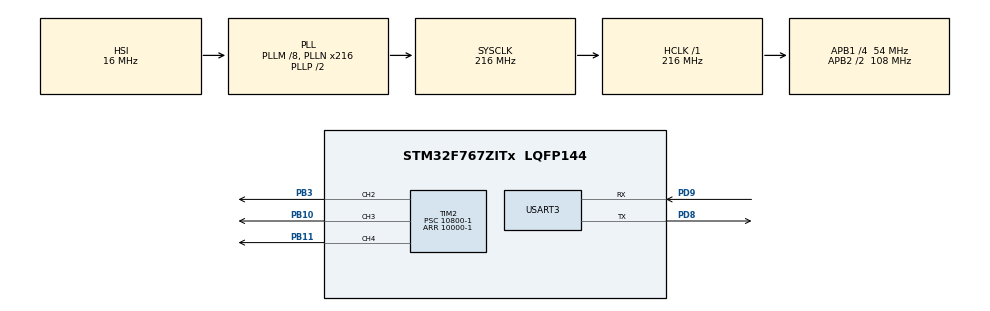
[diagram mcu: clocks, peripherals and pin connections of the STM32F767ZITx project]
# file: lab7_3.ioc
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CORTEX_M7.default_mode_Activation=1
Mcu.Family=STM32F7
Mcu.Name=STM32F767ZITx
Mcu.Package=LQFP144
NVIC.PriorityGroup=NVIC_PRIORITYGROUP_4
PB10.GPIO_Speed=GPIO_SPEED_FREQ_VERY_HIGH
PB10.Signal=S_TIM2_CH3
PB11.GPIO_Speed=GPIO_SPEED_FREQ_VERY_HIGH
PB11.Signal=S_TIM2_CH4
PB3.GPIO_Speed=GPIO_SPEED_FREQ_VERY_HIGH
PB3.Signal=S_TIM2_CH2
PD8.Mode=Asynchronous
PD8.Signal=USART3_TX
PD9.Mode=Asynchronous
PD9.Signal=USART3_RX
ProjectManager.HeapSize=0x200
ProjectManager.StackSize=0x400
ProjectManager.TargetToolchain=STM32CubeIDE
RCC.AHBFreq_Value=216000000
RCC.APB1CLKDivider=RCC_HCLK_DIV4
RCC.APB1Freq_Value=54000000
RCC.APB1TimFreq_Value=108000000
RCC.APB2CLKDivider=RCC_HCLK_DIV2
RCC.APB2Freq_Value=108000000
RCC.APB2TimFreq_Value=216000000
RCC.CortexFreq_Value=216000000
RCC.HCLKFreq_Value=216000000
RCC.HSE_VALUE=25000000
RCC.HSI_VALUE=16000000
RCC.LSE_VALUE=32768
RCC.PLLM=8
RCC.PLLN=216
RCC.SYSCLKFreq_VALUE=216000000
RCC.SYSCLKSource=RCC_SYSCLKSOURCE_PLLCLK
RCC.USBFreq_Value=216000000
RCC.VCOOutputFreq_Value=432000000
SH.S_TIM2_CH2.0=TIM2_CH2,PWM Generation2 CH2
SH.S_TIM2_CH3.0=TIM2_CH3,PWM Generation3 CH3
SH.S_TIM2_CH4.0=TIM2_CH4,PWM Generation4 CH4
TIM2.Channel-PWM\ Generation2\ CH2=TIM_CHANNEL_2
TIM2.Channel-PWM\ Generation3\ CH3=TIM_CHANNEL_3
TIM2.Channel-PWM\ Generation4\ CH4=TIM_CHANNEL_4
TIM2.Period=10000-1
TIM2.Prescaler=10800-1
TIM2.Pulse-PWM\ Generation2\ CH2=10000/4-1
TIM2.Pulse-PWM\ Generation3\ CH3=10000/4-1
TIM2.Pulse-PWM\ Generation4\ CH4=10000/4-1
USART3.VirtualMode-Asynchronous=VM_ASYNC
VP_TIM2_VS_ClockSourceINT.Mode=Internal
board=custom

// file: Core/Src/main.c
/* USER CODE BEGIN Header */
/**
  ******************************************************************************
  * @file           : main.c
  * @brief          : Main program body
  ******************************************************************************
  * @attention
  *
  * Copyright (c) 2024 STMicroelectronics.
  * All rights reserved.
  *
  * This software is licensed under terms that can be found in the LICENSE file
  * in the root directory of this software component.
  * If no LICENSE file comes with this software, it is provided AS-IS.
  *
  ******************************************************************************
  */
/* USER CODE END Header */
#include "main.h"
#include "tim.h"
#include "usart.h"
#include "gpio.h"
#include "string.h"

/* USER CODE BEGIN PD */
// Define PWM variables
extern TIM_HandleTypeDef htim2;  // Use timer for PWM generation
uint8_t red_brightness = 0;    // Red brightness level (0-5 corresponding to 0%-100%)
uint8_t green_brightness = 0;  // Green brightness level (0-5 corresponding to 0%-100%)
uint8_t blue_brightness = 0;   // Blue brightness level (0-5 corresponding to 0%-100%)
float brightness_levels[] = {0.0, 0.2, 0.4, 0.6, 0.8, 1.0};  // Brightness steps
// Declare duty cycle variables to monitor in STM32CubeMonitor
float red_duty_cycle = 0.0;   // Red duty cycle (0.0 to 1.0)
float green_duty_cycle = 0.0; // Green duty cycle (0.0 to 1.0)
float blue_duty_cycle = 0.0;  // Blue duty cycle (0.0 to 1.0)
/* USER CODE END PD */

void SystemClock_Config(void);
static void MPU_Config(void);

/* USER CODE BEGIN 0 */
// Function prototypes
void Set_RGB_Brightness(void);
void Handle_Key_Input(char key);
/* USER CODE END 0 */

int main(void)
{

  /* MPU Configuration--------------------------------------------------------*/
  MPU_Config();

  /* MCU Configuration--------------------------------------------------------*/

  /* Reset of all peripherals, Initializes the Flash interface and the Systick. */
  HAL_Init();

  /* Configure the system clock */
  SystemClock_Config();

  /* Initialize all configured peripherals */
  MX_GPIO_Init();
  MX_TIM2_Init();
  MX_USART3_UART_Init();
  /* USER CODE BEGIN 2 */
  // Start PWM channels for red, green, blue
  HAL_TIM_PWM_Start(&htim2, TIM_CHANNEL_2);  // Red on TIM2_CH2
  HAL_TIM_PWM_Start(&htim2, TIM_CHANNEL_3);  // Green on TIM2_CH3
  HAL_TIM_PWM_Start(&htim2, TIM_CHANNEL_4);  // Blue on TIM2_CH4
  char received_char;
  char message[] = "Enter key: ";
  /* USER CODE END 2 */

  /* Infinite loop */
  while (1)
  {
	  HAL_UART_Transmit(&huart3, (uint8_t*)message, strlen(message), HAL_MAX_DELAY);
	  if (HAL_UART_Receive(&huart3, (uint8_t *)&received_char, 1, HAL_MAX_DELAY) == HAL_OK) {
		  HAL_UART_Transmit(&huart3, &received_char, 1, HAL_MAX_DELAY);
		  HAL_UART_Transmit(&huart3, (uint8_t*)"\r\n", 2, HAL_MAX_DELAY);
		  Handle_Key_Input(received_char);  // Handle 'r', 'g', 'b' keypress
	      Set_RGB_Brightness();  // Update brightness based on the latest values
  }
}
}

  // Function to set the brightness of the RGB LED using PWM duty cycles
  void Set_RGB_Brightness(void) {
	  // Update the duty cycle of each color and store it in global variables
	  red_duty_cycle = brightness_levels[red_brightness];    // Red duty cycle
	  green_duty_cycle = brightness_levels[green_brightness]; // Green duty cycle
	  blue_duty_cycle = brightness_levels[blue_brightness];   // Blue duty cycle
	  // Update the duty cycle of each color based on brightness levels (0-100%)
      htim2.Instance->CCR2 = (10000 - 1) * brightness_levels[red_brightness];   // Red brightness (TIM2_CH2)
      htim2.Instance->CCR3 = (10000 - 1) * brightness_levels[green_brightness]; // Green brightness (TIM2_CH3)
      htim2.Instance->CCR4 = (10000 - 1) * brightness_levels[blue_brightness];  // Blue brightness (TIM2_CH4)
  }

  // Function to handle key input and cycle through brightness levels
  void Handle_Key_Input(char key) {
      switch (key) {
          case 'r':  // Increase red brightness
              red_brightness = (red_brightness + 1) % 6;  // Cycle from 0% to 100% and back to 0%
              break;
          case 'g':  // Increase green brightness
              green_brightness = (green_brightness + 1) % 6;
              break;
          case 'b':  // Increase blue brightness
              blue_brightness = (blue_brightness + 1) % 6;
              break;
          default:
              // Ignore other keys
              break;
      }
  }

void SystemClock_Config(void)
{
  RCC_OscInitTypeDef RCC_OscInitStruct = {0};
  RCC_ClkInitTypeDef RCC_ClkInitStruct = {0};

  /** Configure the main internal regulator output voltage
  */
  __HAL_RCC_PWR_CLK_ENABLE();
  __HAL_PWR_VOLTAGESCALING_CONFIG(PWR_REGULATOR_VOLTAGE_SCALE1);

  /** Initializes the RCC Oscillators according to the specified parameters
  * in the RCC_OscInitTypeDef structure.
  */
  RCC_OscInitStruct.OscillatorType = RCC_OSCILLATORTYPE_HSI;
  RCC_OscInitStruct.HSIState = RCC_HSI_ON;
  RCC_OscInitStruct.HSICalibrationValue = RCC_HSICALIBRATION_DEFAULT;
  RCC_OscInitStruct.PLL.PLLState = RCC_PLL_ON;
  RCC_OscInitStruct.PLL.PLLSource = RCC_PLLSOURCE_HSI;
  RCC_OscInitStruct.PLL.PLLM = 8;
  RCC_OscInitStruct.PLL.PLLN = 216;
  RCC_OscInitStruct.PLL.PLLP = RCC_PLLP_DIV2;
  RCC_OscInitStruct.PLL.PLLQ = 2;
  RCC_OscInitStruct.PLL.PLLR = 2;
  if (HAL_RCC_OscConfig(&RCC_OscInitStruct) != HAL_OK)
  {
    Error_Handler();
  }

  /** Activate the Over-Drive mode
  */
  if (HAL_PWREx_EnableOverDrive() != HAL_OK)
  {
    Error_Handler();
  }

  /** Initializes the CPU, AHB and APB buses clocks
  */
  RCC_ClkInitStruct.ClockType = RCC_CLOCKTYPE_HCLK|RCC_CLOCKTYPE_SYSCLK
                              |RCC_CLOCKTYPE_PCLK1|RCC_CLOCKTYPE_PCLK2;
  RCC_ClkInitStruct.SYSCLKSource = RCC_SYSCLKSOURCE_PLLCLK;
  RCC_ClkInitStruct.AHBCLKDivider = RCC_SYSCLK_DIV1;
  RCC_ClkInitStruct.APB1CLKDivider = RCC_HCLK_DIV4;
  RCC_ClkInitStruct.APB2CLKDivider = RCC_HCLK_DIV2;

  if (HAL_RCC_ClockConfig(&RCC_ClkInitStruct, FLASH_LATENCY_7) != HAL_OK)
  {
    Error_Handler();
  }
}

 /* MPU Configuration */

void MPU_Config(void)
{
  MPU_Region_InitTypeDef MPU_InitStruct = {0};

  /* Disables the MPU */
  HAL_MPU_Disable();

  /** Initializes and configures the Region and the memory to be protected
  */
  MPU_InitStruct.Enable = MPU_REGION_ENABLE;
  MPU_InitStruct.Number = MPU_REGION_NUMBER0;
  MPU_InitStruct.BaseAddress = 0x0;
  MPU_InitStruct.Size = MPU_REGION_SIZE_4GB;
  MPU_InitStruct.SubRegionDisable = 0x87;
  MPU_InitStruct.TypeExtField = MPU_TEX_LEVEL0;
  MPU_InitStruct.AccessPermission = MPU_REGION_NO_ACCESS;
  MPU_InitStruct.DisableExec = MPU_INSTRUCTION_ACCESS_DISABLE;
  MPU_InitStruct.IsShareable = MPU_ACCESS_SHAREABLE;
  MPU_InitStruct.IsCacheable = MPU_ACCESS_NOT_CACHEABLE;
  MPU_InitStruct.IsBufferable = MPU_ACCESS_NOT_BUFFERABLE;

  HAL_MPU_ConfigRegion(&MPU_InitStruct);
  /* Enables the MPU */
  HAL_MPU_Enable(MPU_PRIVILEGED_DEFAULT);

}

void Error_Handler(void)
{
  __disable_irq();
  while (1)
  {
  }
}
